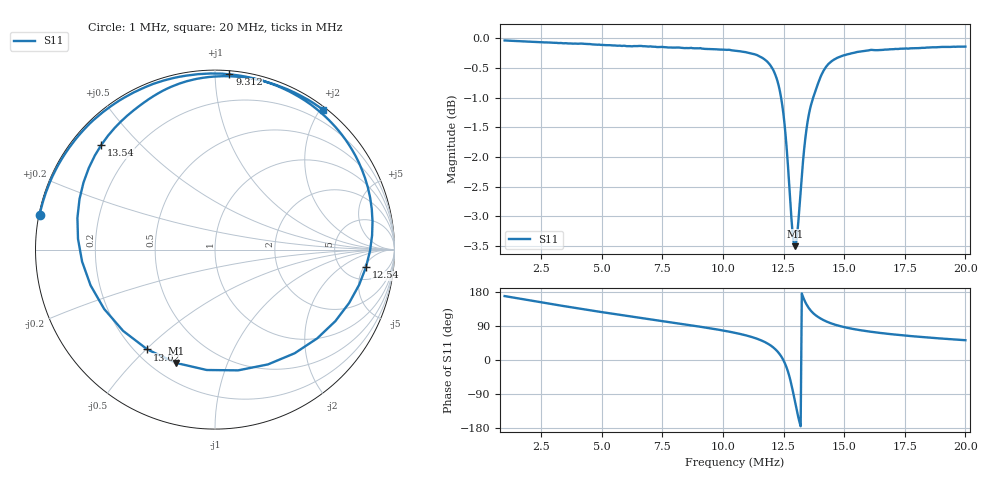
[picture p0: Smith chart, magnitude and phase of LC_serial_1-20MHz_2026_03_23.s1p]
# HZ S RI R 50
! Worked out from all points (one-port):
!   401 points, 1 MHz to 20 MHz, reference 50 ohm
!   lowest |S11| = -3.5 dB at 12.97 MHz (marker M1), VSWR 5.02, Z = 14.7 - j33.5 ohm
!   |S11| at or under -10 dB: nowhere
!   S11 on the Smith chart (normalised r, x): 1 MHz: 0.00, +0.10; 9.312 MHz: 0.02, +1.09; 12.54 MHz: 8.10, -5.62; 13.02 MHz: 0.25, -0.50; 13.54 MHz: 0.09, +0.39; 20 MHz: 0.04, +2.04
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1000000  -0.9766 0.1953
3375000  -0.791 0.5966
5750000  -0.4799 0.8613
8125000  -0.116 0.9754
9312500  0.0804 0.9764
1.05e7  0.3065 0.9269
1.1355e7  0.5233 0.8155
1.18775e7  0.7066 0.6403
1.20675e7  0.7829 0.5225
1.22575e7  0.8517 0.3461
1.24e7  0.8776 0.1558
1.25425e7  0.8409 -0.0983
1.2685e7  0.6706 -0.3986
1.278e7  0.4437 -0.5776
1.2875e7  0.1291 -0.6728
1.297e7  -0.2182 -0.6312
1.30175e7  -0.3766 -0.5563
1.31125e7  -0.6177 -0.3307
1.3255e7  -0.7633 0.0597
1.33975e7  -0.7325 0.3745
1.354e7  -0.6328 0.5843
1.37775e7  -0.4566 0.7732
1.41575e7  -0.2432 0.9075
1.46325e7  -0.0512 0.9595
1.525e7  0.1121 0.9641
1.62475e7  0.281 0.9361
1.7625e7  0.4323 0.8798
2e7  0.6033 0.7775
